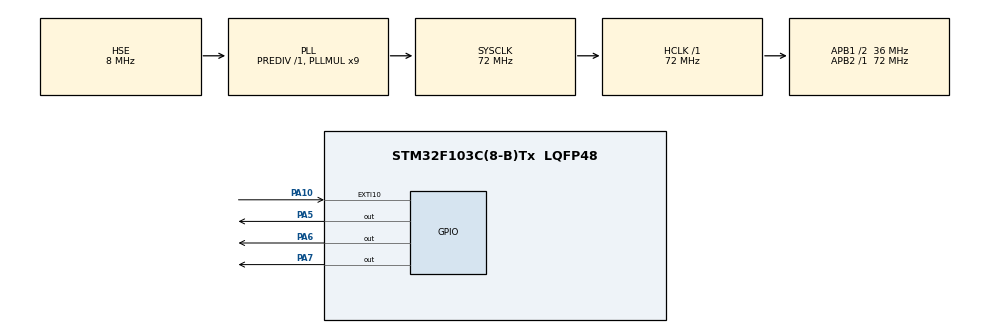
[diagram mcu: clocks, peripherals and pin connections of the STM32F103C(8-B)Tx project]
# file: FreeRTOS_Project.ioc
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Mcu.Family=STM32F1
Mcu.Name=STM32F103C(8-B)Tx
Mcu.Package=LQFP48
NVIC.EXTI15_10_IRQn=true\:6\:0\:true\:false\:true\:true\:true\:true
NVIC.PriorityGroup=NVIC_PRIORITYGROUP_4
NVIC.TIM2_IRQn=true\:15\:0\:false\:false\:true\:false\:true\:true
NVIC.TimeBase=TIM2_IRQn
NVIC.TimeBaseIP=TIM2
PA10.GPIO_ModeDefaultEXTI=GPIO_MODE_IT_FALLING
PA10.GPIO_PuPd=GPIO_PULLDOWN
PA10.Signal=GPXTI10
PA2.Signal=USART2_TX
PA3.Signal=USART2_RX
PA5.GPIO_PuPd=GPIO_PULLDOWN
PA5.Signal=GPIO_Output
PA6.GPIO_PuPd=GPIO_PULLDOWN
PA6.Signal=GPIO_Output
PA7.GPIO_PuPd=GPIO_PULLDOWN
PA7.Signal=GPIO_Output
PD0-OSC_IN.Mode=HSE-External-Oscillator
PD0-OSC_IN.Signal=RCC_OSC_IN
PD1-OSC_OUT.Mode=HSE-External-Oscillator
PD1-OSC_OUT.Signal=RCC_OSC_OUT
ProjectManager.HeapSize=0x200
ProjectManager.StackSize=0x400
ProjectManager.TargetToolchain=STM32CubeIDE
RCC.AHBFreq_Value=72000000
RCC.APB1CLKDivider=RCC_HCLK_DIV2
RCC.APB1Freq_Value=36000000
RCC.APB1TimFreq_Value=72000000
RCC.APB2Freq_Value=72000000
RCC.APB2TimFreq_Value=72000000
RCC.HCLKFreq_Value=72000000
RCC.PLLMUL=RCC_PLL_MUL9
RCC.PLLSourceVirtual=RCC_PLLSOURCE_HSE
RCC.SYSCLKFreq_VALUE=72000000
RCC.SYSCLKSource=RCC_SYSCLKSOURCE_PLLCLK
RCC.USBFreq_Value=72000000
VP_SYS_VS_ND.Mode=No_Debug
VP_SYS_VS_tim2.Mode=TIM2
board=custom

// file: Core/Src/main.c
/* USER CODE BEGIN Header */
/**
 ******************************************************************************
 * @file           : main.c
 * @brief          : Main program body
 ******************************************************************************
 * @attention
 *
 * Copyright (c) 2022 STMicroelectronics.
 * All rights reserved.
 *
 * This software is licensed under terms that can be found in the LICENSE file
 * in the root directory of this software component.
 * If no LICENSE file comes with this software, it is provided AS-IS.
 *
 ******************************************************************************
 */
/* USER CODE END Header */
#include "main.h"

/* USER CODE BEGIN Includes */
#include "FreeRTOS.h"
#include "task.h"
#include <stdio.h>
/* USER CODE END Includes */

/* USER CODE BEGIN PM */
#define    DWT_CONTROL     *((volatile uint32_t *)0xE0001000)
#define    SCB_DEMCR         *((volatile uint32_t *)0xE000EDFC)
/* USER CODE END PM */

void SystemClock_Config(void);
static void MX_GPIO_Init(void);
/* USER CODE BEGIN PFP */
static void led_blue_handler(void * parameters);
static void led_green_handler(void * parameters);
static void led_red_handler(void * parameters);
extern void SEGGER_UART_init(long unsigned int);
/* USER CODE END PFP */

/* USER CODE BEGIN 0 */
TaskHandle_t nexttask=NULL;
TaskHandle_t task1_handle;
TaskHandle_t task2_handle;
TaskHandle_t task3_handle;
TaskHandle_t task4_handle;

/* USER CODE END 0 */

int main(void)
{
	/* USER CODE BEGIN 1 */
	BaseType_t status;
	/* USER CODE END 1 */

	/* MCU Configuration--------------------------------------------------------*/

	/* Reset of all peripherals, Initializes the Flash interface and the Systick. */
	HAL_Init();

	/* Configure the system clock */
	SystemClock_Config();

	/* USER CODE BEGIN SysInit */
	SEGGER_UART_init(230400);
	/* USER CODE END SysInit */

	/* Initialize all configured peripherals */
	MX_GPIO_Init();
	/* USER CODE BEGIN 2 */

	SCB_DEMCR  |= (1<<24);
	DWT_CONTROL|= (1<<0);

	SEGGER_SYSVIEW_Conf();

	status = xTaskCreate(led_blue_handler, "LED_Blue_Handler", 200, NULL, 1, &task1_handle);
	configASSERT(status==pdPASS);
	status = xTaskCreate(led_green_handler, "LED_Green_Handler", 200, NULL, 2, &task2_handle);
	configASSERT(status==pdPASS);
	status = xTaskCreate(led_red_handler, "LED_Red_Handler", 200, NULL, 3, &task3_handle);
	configASSERT(status==pdPASS);
	nexttask=task1_handle;
	vTaskStartScheduler();
	/* USER CODE END 2 */

	/* Infinite loop */
	while (1)
	{

	}
}

void SystemClock_Config(void)
{
	RCC_OscInitTypeDef RCC_OscInitStruct = {0};
	RCC_ClkInitTypeDef RCC_ClkInitStruct = {0};

	/** Initializes the RCC Oscillators according to the specified parameters
	 * in the RCC_OscInitTypeDef structure.
	 */
	RCC_OscInitStruct.OscillatorType = RCC_OSCILLATORTYPE_HSE;
	RCC_OscInitStruct.HSEState = RCC_HSE_ON;
	RCC_OscInitStruct.HSEPredivValue = RCC_HSE_PREDIV_DIV1;
	RCC_OscInitStruct.HSIState = RCC_HSI_ON;
	RCC_OscInitStruct.PLL.PLLState = RCC_PLL_ON;
	RCC_OscInitStruct.PLL.PLLSource = RCC_PLLSOURCE_HSE;
	RCC_OscInitStruct.PLL.PLLMUL = RCC_PLL_MUL9;
	if (HAL_RCC_OscConfig(&RCC_OscInitStruct) != HAL_OK)
	{
		Error_Handler();
	}

	/** Initializes the CPU, AHB and APB buses clocks
	 */
	RCC_ClkInitStruct.ClockType = RCC_CLOCKTYPE_HCLK|RCC_CLOCKTYPE_SYSCLK
			|RCC_CLOCKTYPE_PCLK1|RCC_CLOCKTYPE_PCLK2;
	RCC_ClkInitStruct.SYSCLKSource = RCC_SYSCLKSOURCE_PLLCLK;
	RCC_ClkInitStruct.AHBCLKDivider = RCC_SYSCLK_DIV1;
	RCC_ClkInitStruct.APB1CLKDivider = RCC_HCLK_DIV2;
	RCC_ClkInitStruct.APB2CLKDivider = RCC_HCLK_DIV1;

	if (HAL_RCC_ClockConfig(&RCC_ClkInitStruct, FLASH_LATENCY_2) != HAL_OK)
	{
		Error_Handler();
	}
}

static void MX_GPIO_Init(void)
{
	GPIO_InitTypeDef GPIO_InitStruct = {0};

	/* GPIO Ports Clock Enable */
	__HAL_RCC_GPIOD_CLK_ENABLE();
	__HAL_RCC_GPIOA_CLK_ENABLE();

	/*Configure GPIO pin Output Level */
	HAL_GPIO_WritePin(GPIOA, GPIO_PIN_5|GPIO_PIN_6|GPIO_PIN_7, GPIO_PIN_RESET);

	/*Configure GPIO pin : PA2 */
	GPIO_InitStruct.Pin = GPIO_PIN_2;
	GPIO_InitStruct.Mode = GPIO_MODE_AF_PP;
	GPIO_InitStruct.Speed = GPIO_SPEED_FREQ_HIGH;
	HAL_GPIO_Init(GPIOA, &GPIO_InitStruct);

	/*Configure GPIO pin : PA3 */
	GPIO_InitStruct.Pin = GPIO_PIN_3;
	GPIO_InitStruct.Mode = GPIO_MODE_INPUT;
	GPIO_InitStruct.Pull = GPIO_NOPULL;
	HAL_GPIO_Init(GPIOA, &GPIO_InitStruct);

	/*Configure GPIO pins : PA5 PA6 PA7 */
	GPIO_InitStruct.Pin = GPIO_PIN_5|GPIO_PIN_6|GPIO_PIN_7;
	GPIO_InitStruct.Mode = GPIO_MODE_OUTPUT_PP;
	GPIO_InitStruct.Pull = GPIO_PULLDOWN;
	GPIO_InitStruct.Speed = GPIO_SPEED_FREQ_LOW;
	HAL_GPIO_Init(GPIOA, &GPIO_InitStruct);

	/*Configure GPIO pin : PA10 */
	GPIO_InitStruct.Pin = GPIO_PIN_10;
	GPIO_InitStruct.Mode = GPIO_MODE_IT_FALLING;
	GPIO_InitStruct.Pull = GPIO_PULLDOWN;
	HAL_GPIO_Init(GPIOA, &GPIO_InitStruct);

	/* EXTI interrupt init*/
	HAL_NVIC_SetPriority(EXTI15_10_IRQn, 6, 0);
	HAL_NVIC_EnableIRQ(EXTI15_10_IRQn);

}

/* USER CODE BEGIN 4 */
void button_handler(){
	traceISR_ENTER();
	if(nexttask!=NULL){
		xTaskNotifyFromISR(nexttask,0,eNoAction,NULL);
	}
	else{
		xTaskResumeFromISR(task1_handle);
		xTaskResumeFromISR(task2_handle);
		xTaskResumeFromISR(task3_handle);
		nexttask=task1_handle;
		SEGGER_SYSVIEW_PrintfTarget("resume all");

	}
	traceISR_EXIT();
}
static void led_blue_handler(void * parameters){
	BaseType_t status;
	while(1){
		SEGGER_SYSVIEW_PrintfTarget("blue");
		HAL_GPIO_TogglePin(GPIOA, GPIO_PIN_5);
		status=xTaskNotifyWait(0,0,NULL,pdMS_TO_TICKS(1000));
		if(status== pdTRUE){
			SEGGER_SYSVIEW_PrintfTarget("delete blue");
			HAL_GPIO_WritePin(GPIOA, GPIO_PIN_5,GPIO_PIN_SET);
			portENTER_CRITICAL();
			nexttask=task2_handle;
			portEXIT_CRITICAL();
			vTaskSuspend(task1_handle);
		}
	}
}
static void led_green_handler(void * parameters){
	BaseType_t status;
	while(1){
		SEGGER_SYSVIEW_PrintfTarget("green");
		HAL_GPIO_TogglePin(GPIOA, GPIO_PIN_6);
		status=xTaskNotifyWait(0,0,NULL,pdMS_TO_TICKS(800));
		if(status== pdTRUE){
			SEGGER_SYSVIEW_PrintfTarget("delete green");
			HAL_GPIO_WritePin(GPIOA, GPIO_PIN_6,GPIO_PIN_SET);
			portENTER_CRITICAL();
			nexttask=task3_handle;
			portEXIT_CRITICAL();
			vTaskSuspend(task2_handle);
		}
	}
}
static void led_red_handler(void * parameters){
	BaseType_t status;
	while(1){
		SEGGER_SYSVIEW_PrintfTarget("red");
		HAL_GPIO_TogglePin(GPIOA, GPIO_PIN_7);
		status=xTaskNotifyWait(0,0,NULL,pdMS_TO_TICKS(400));
		if(status== pdTRUE){
			SEGGER_SYSVIEW_PrintfTarget("delete red");
			HAL_GPIO_WritePin(GPIOA, GPIO_PIN_7,GPIO_PIN_SET);
			portENTER_CRITICAL();
			nexttask=NULL;
			portEXIT_CRITICAL();
			vTaskSuspend(task3_handle);
		}

	}
}

/* USER CODE END 4 */

void HAL_TIM_PeriodElapsedCallback(TIM_HandleTypeDef *htim)
{
	if (htim->Instance == TIM2) {
		HAL_IncTick();
	}
}

void Error_Handler(void)
{
	__disable_irq();
	while (1)
	{
	}
}
